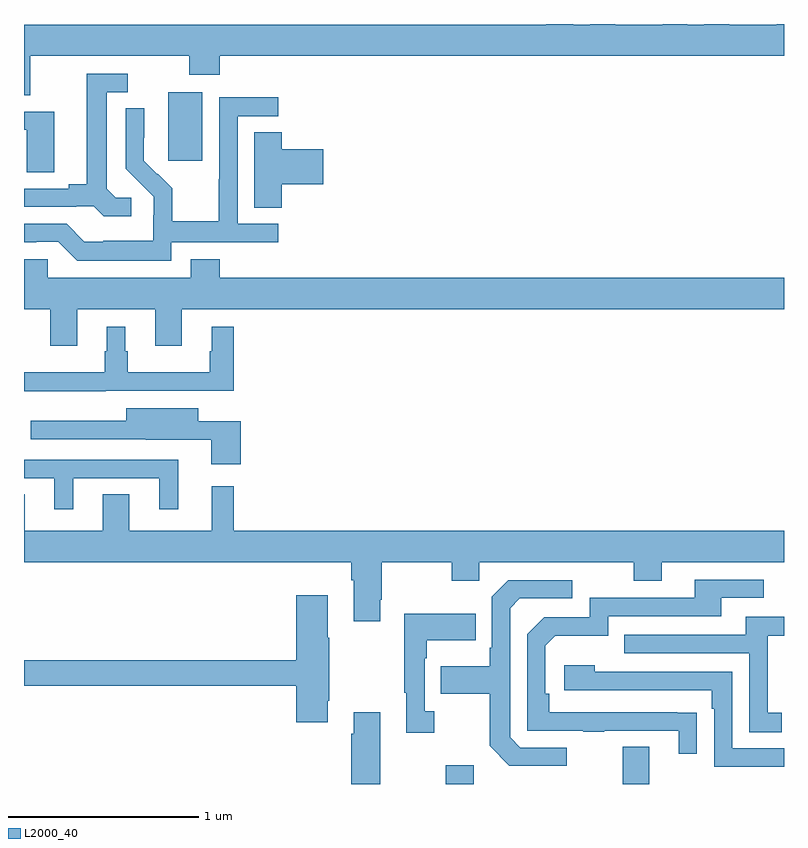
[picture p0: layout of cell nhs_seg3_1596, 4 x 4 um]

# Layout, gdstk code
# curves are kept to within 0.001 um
import gdstk
lib = gdstk.Library(unit=1e-6, precision=1e-09)
def R(c, l, rs):  # rectangles x0, y0, x1, y1
    for r in rs: c.add(gdstk.rectangle(r[:2], r[2:], *l))
def P(c, l, *ps):  # polygons
    for p in ps: c.add(gdstk.Polygon(p, *l))
L2000_40 = (2000, 40)

nhs_seg3_1596 = lib.new_cell('nhs_seg3_1596')
R(nhs_seg3_1596, L2000_40, [(195.22,714.4,195.367,714.499), (196.151,714.4,196.291,714.595), (193.76,717.681,193.939,718.042)])
P(nhs_seg3_1596, L2000_40, [(193.033,718.232),(193.87,718.232),(193.87,718.133),(194.03,718.133),(194.03,718.232),(197,718.232),(197,718.4),(196.961,718.4),(196.961,718.396),(196.711,718.396),(196.711,718.4),(196.58,718.4),(196.58,718.396),(196.492,718.396),(196.492,718.4),(196.361,718.4),(196.361,718.396),(196.111,718.396),(196.111,718.4),(195.98,718.4),(195.98,718.396),(195.892,718.396),(195.892,718.4),(195.749,718.4),(195.749,718.396),(193,718.396),(193,718.024),(193.033,718.024)],
  [(193.564,717.486),(193.482,717.486),(193.435,717.533),(193.435,718.041),(193.546,718.041),(193.546,718.137),(193.331,718.137),(193.331,717.557),(193.235,717.557),(193.235,717.534),(193,717.534),(193,717.438),(193.274,717.438),(193.274,717.441),(193.368,717.441),(193.42,717.389),(193.564,717.389)],
  [(193.776,717.252),(194.338,717.252),(194.338,717.348),(194.124,717.348),(194.124,717.915),(194.338,717.915),(194.338,718.014),(194.028,718.014),(194.028,717.584),(194.026,717.584),(194.026,717.361),(193.781,717.361),(193.781,717.535),(193.704,717.612),(193.701,717.609),(193.631,717.68),(193.632,717.956),(193.536,717.956),(193.536,717.638),(193.682,717.49),(193.682,717.393),(193.68,717.393),(193.68,717.259),(193.417,717.259),(193.417,717.255),(193.317,717.255),(193.224,717.348),(193,717.348),(193,717.252),(193.064,717.252),(193.064,717.255),(193.179,717.255),(193.279,717.155),(193.776,717.155)],
  [(193.159,717.939),(193,717.939),(193,717.843),(193.014,717.843),(193.014,717.619),(193.159,717.619)],
  [(194.357,717.557),(194.575,717.557),(194.575,717.74),(194.357,717.74),(194.357,717.83),(194.213,717.83),(194.213,717.433),(194.357,717.433)],
  [(193.877,717.163),(193.877,717.064),(193.125,717.064),(193.125,717.162),(193,717.162),(193,716.9),(193.139,716.9),(193.139,716.706),(193.279,716.706),(193.279,716.9),(193.691,716.9),(193.691,716.706),(193.831,716.706),(193.831,716.9),(197,716.9),(197,717.064),(194.03,717.064),(194.03,717.163)],
  [(193.43,716.469),(194.105,716.469),(194.105,716.806),(193.988,716.806),(193.988,716.678),(193.977,716.678),(193.977,716.566),(193.546,716.566),(193.546,716.678),(193.534,716.678),(193.534,716.806),(193.436,716.806),(193.436,716.678),(193.425,716.678),(193.425,716.566),(193,716.566),(193,716.468),(193.43,716.468)],
  [(194.141,716.31),(193.918,716.31),(193.918,716.377),(193.538,716.377),(193.538,716.311),(193.035,716.311),(193.035,716.214),(193.642,716.214),(193.642,716.212),(193.985,716.212),(193.985,716.082),(194.141,716.082)],
  [(193.258,716.01),(193.712,716.01),(193.712,715.845),(193.811,715.845),(193.811,716.106),(193,716.106),(193,716.01),(193.16,716.01),(193.16,715.845),(193.258,715.845)],
  [(194.875,715.369),(194.883,715.369),(194.883,715.568),(195.25,715.568),(195.25,715.469),(195.396,715.469),(195.396,715.568),(196.21,715.568),(196.21,715.469),(196.357,715.469),(196.357,715.568),(197,715.568),(197,715.732),(194.105,715.732),(194.105,715.966),(193.988,715.966),(193.988,715.732),(193.555,715.732),(193.555,715.925),(193.415,715.925),(193.415,715.732),(193.003,715.732),(193.003,715.925),(193,715.925),(193,715.568),(194.723,715.568),(194.723,715.472),(194.735,715.472),(194.735,715.257),(194.875,715.257)],
  [(196.541,714.776),(195.764,714.777),(195.764,714.874),(195.744,714.874),(195.744,715.128),(195.797,715.181),(196.074,715.181),(196.074,715.284),(196.669,715.284),(196.669,715.38),(196.894,715.38),(196.894,715.476),(196.529,715.476),(196.529,715.38),(195.978,715.38),(195.978,715.278),(195.738,715.278),(195.648,715.188),(195.648,714.681),(195.943,714.681),(195.943,714.676),(196.055,714.676),(196.055,714.681),(196.445,714.681),(196.445,714.558),(196.541,714.558)],
  [(195.856,714.591),(195.612,714.591),(195.558,714.645),(195.558,715.326),(195.609,715.377),(195.886,715.377),(195.886,715.473),(195.549,715.473),(195.462,715.386),(195.462,715.117),(195.45,715.117),(195.45,715.021),(195.193,715.021),(195.193,714.874),(195.45,714.874),(195.45,714.601),(195.555,714.495),(195.856,714.495)],
  [(194.599,714.838),(194.607,714.838),(194.607,715.169),(194.599,715.169),(194.599,715.393),(194.432,715.393),(194.432,715.052),(193,715.052),(193,714.916),(194.432,714.916),(194.432,714.726),(194.599,714.726)],
  [(195.16,714.782),(195.108,714.782),(195.108,715.061),(195.121,715.061),(195.121,715.157),(195.377,715.157),(195.377,715.297),(195,715.297),(195,714.881),(195.011,714.881),(195.011,714.669),(195.16,714.669)],
  [(196.987,714.774),(196.914,714.774),(196.914,715.179),(197,715.179),(197,715.279),(196.799,715.279),(196.799,715.185),(196.159,715.185),(196.159,715.089),(196.818,715.089),(196.818,714.673),(196.987,714.673)],
  [(197,714.588),(196.728,714.588),(196.728,714.99),(196.004,714.99),(196.004,715.024),(195.843,715.024),(195.843,714.894),(196.619,714.894),(196.619,714.797),(196.632,714.797),(196.632,714.492),(197,714.492)],
  [(194.735,714.778),(194.735,714.665),(194.723,714.665),(194.723,714.4),(194.875,714.4),(194.875,714.778)])

lib.write_gds('nhs_seg3_1596.gds')
